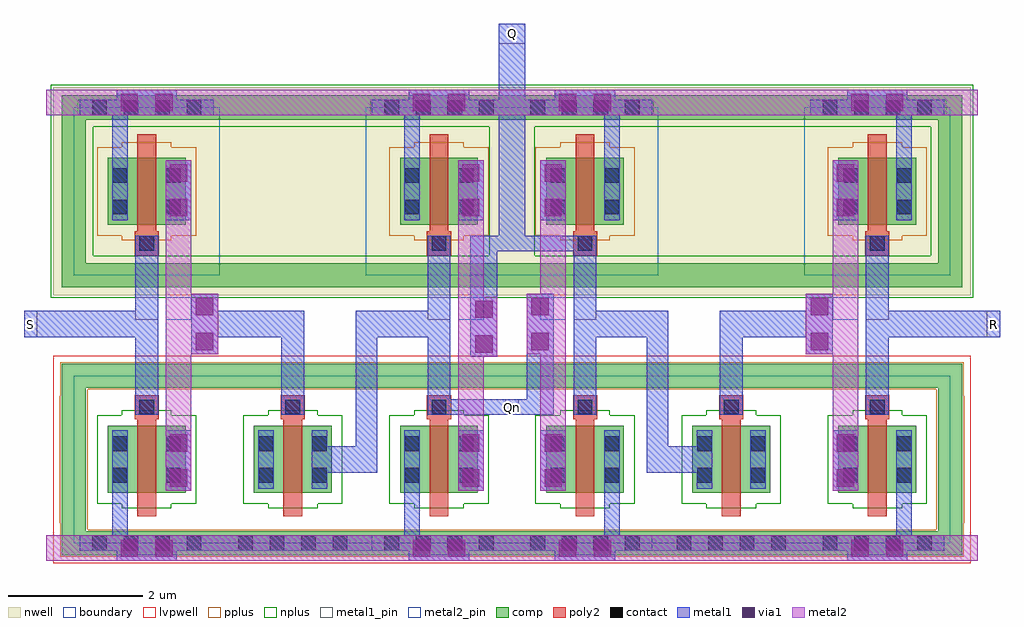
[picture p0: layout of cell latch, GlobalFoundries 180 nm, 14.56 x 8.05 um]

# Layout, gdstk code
from math import pi, radians
import gdstk
lib = gdstk.Library(unit=1e-6, precision=1e-09)
def R(c, l, rs):  # rectangles x0, y0, x1, y1
    for r in rs: c.add(gdstk.rectangle(r[:2], r[2:], *l))
def A(c, l, x, y, w, h, nx, ny, dx, dy):  # array of equal rectangles
    R(c, l, [(x+i*dx, y+j*dy, x+i*dx+w, y+j*dy+h) for i in range(nx) for j in range(ny)])
boundary = (0, 0)
nwell = (21, 0)
comp = (22, 0)
poly2 = (30, 0)
pplus = (31, 0)
nplus = (32, 0)
contact = (33, 0)
metal1 = (34, 0)
metal1_pin = (34, 10)
via1 = (35, 0)
metal2 = (36, 0)
metal2_pin = (36, 10)
lvpwell = (204, 0)

xm1_2 = lib.new_cell('XM1$2')
R(xm1_2, boundary, [(-1.09,-1.75,1.09,0.75)])
R(xm1_2, comp, [(-1.27,-1.93,1.27,-1.57), (-1.27,-1.57,-0.91,0.57), (-0.58,-1,0.58,0), (-1.27,0.57,1.27,0.93)])
R(xm1_2, poly2, [(-0.14,-1.35,0.14,0.1), (-0.18,0.1,0.18,0.46)])
R(xm1_2, pplus, [(-1.29,-1.95,1.29,-1.55), (-1.29,-1.55,-0.88,-1.445), (-1.3,-1.445,-0.88,0.445), (-1.29,0.445,-0.88,0.55), (-1.29,0.55,1.29,0.95)])
R(xm1_2, nplus, [(-0.37,-1.23,0.37,-1.16), (-0.74,-1.16,0.74,0.16), (-0.37,0.16,0.37,0.23)])
A(xm1_2, contact, -0.815, -1.86, 0.22, 0.22, 4, 1, 0.47, 0)
R(xm1_2, contact, [(-0.51,-0.845,-0.29,-0.625), (0.29,-0.845,0.51,-0.625), (-0.51,-0.375,-0.29,-0.155), (0.29,-0.375,0.51,-0.155), (-0.11,0.17,0.11,0.39)])
R(xm1_2, metal1, [(-1,-1.865,1.09,-1.635), (-0.515,-1.75,-0.285,-0.065), (0.285,-0.935,0.515,-0.065), (-0.17,0.165,0.17,0.395)])
R(xm1_2, lvpwell, [(-1.39,-2.05,1.39,1.05)])

xm2_2 = lib.new_cell('XM2$2')
R(xm2_2, boundary, [(-1.09,-1.25,1.09,1.25)])
R(xm2_2, nwell, [(-2.3,-1.55,1.39,1.55)])
R(xm2_2, comp, [(-2.18,-1.43,1.27,-1.07), (0.91,-1.07,1.27,1.07), (-0.58,-0.5,0.58,0.5), (-2.18,1.07,1.27,1.43)])
R(xm2_2, poly2, [(-0.14,-0.85,0.14,0.6), (-0.18,0.6,0.18,0.96)])
R(xm2_2, pplus, [(-0.37,-0.73,0.37,-0.66), (-0.74,-0.66,0.74,0.66), (-0.37,0.66,0.37,0.73)])
R(xm2_2, nplus, [(-2.34,-1.59,1.43,-0.96), (0.8,-0.96,1.43,0.96), (-2.34,0.96,1.43,1.59)])
A(xm2_2, contact, -0.815, -1.36, 0.22, 0.22, 4, 1, 0.47, 0)
R(xm2_2, contact, [(-0.51,-0.345,-0.29,-0.125), (0.29,-0.345,0.51,-0.125), (-0.51,0.125,-0.29,0.345), (0.29,0.125,0.51,0.345), (-0.11,0.67,0.11,0.89)])
R(xm2_2, metal1, [(-1,-1.365,1,-1.135), (0.285,-1.25,0.515,0.435), (-0.515,-0.435,-0.285,0.435), (-0.17,0.665,0.17,0.895)])

c_x3 = lib.new_cell('x3')
R(c_x3, metal1, [(-0.45,-5.515,0.45,-5.135), (0.285,-4.465,0.665,-3.565), (-0.17,-3.335,0.17,-0.665), (0.285,-0.435,0.665,0.465), (-0.45,1.135,0.45,1.515)])
R(c_x3, metal1_pin, [(-1,-5.365,-0.77,-5.135), (-0.17,-1.92,0.17,-1.58), (-1.025,1.135,-0.795,1.365)])
R(c_x3, via1, [(-0.39,-5.455,-0.13,-5.195), (0.13,-5.455,0.39,-5.195), (0.345,-4.405,0.605,-4.145), (0.345,-3.885,0.605,-3.625), (0.345,-0.375,0.605,-0.115), (0.345,0.145,0.605,0.405), (-0.39,1.195,-0.13,1.455), (0.13,1.195,0.39,1.455)])
R(c_x3, metal2, [(-1.5,-5.515,2.15,-5.135), (-0.45,-5.515,0.45,-5.135), (0.285,-4.465,0.665,-3.565), (0.285,-4.465,0.665,0.465), (0.285,-0.435,0.665,0.465), (-1.5,1.135,2.18,1.515), (-0.45,1.135,0.45,1.515)])
R(c_x3, metal2_pin, [(0.285,-1.92,0.665,-1.58)])
c_x3.add(gdstk.Reference(xm1_2, (0,-3.5)))
c_x3.add(gdstk.Reference(xm2_2, (0,0), rotation=pi))
c_x3.add(gdstk.Label('in', (-0.001,-1.737), layer=34, texttype=10))
c_x3.add(gdstk.Label('vdd', (-0.911,1.25), layer=34, texttype=10))
c_x3.add(gdstk.Label('vss', (-0.886,-5.25), layer=34, texttype=10))
c_x3.add(gdstk.Label('out', (0.47,-1.748), layer=36, texttype=10))

xm1_3 = lib.new_cell('XM1$3')
R(xm1_3, boundary, [(-1.09,-1.75,1.09,0.75)])
R(xm1_3, comp, [(-1.27,-1.93,1.27,-1.57), (-1.27,-1.57,-0.91,0.57), (-0.58,-1,0.58,0), (-1.27,0.57,1.27,0.93)])
R(xm1_3, poly2, [(-0.14,-1.35,0.14,0.1), (-0.18,0.1,0.18,0.46)])
R(xm1_3, pplus, [(-1.29,-1.95,1.29,-1.55), (-1.29,-1.55,-0.88,-1.445), (-1.3,-1.445,-0.88,0.445), (-1.29,0.445,-0.88,0.55), (-1.29,0.55,1.29,0.95)])
R(xm1_3, nplus, [(-0.37,-1.23,0.37,-1.16), (-0.74,-1.16,0.74,0.16), (-0.37,0.16,0.37,0.23)])
A(xm1_3, contact, -0.815, -1.86, 0.22, 0.22, 4, 1, 0.47, 0)
R(xm1_3, contact, [(-0.51,-0.845,-0.29,-0.625), (0.29,-0.845,0.51,-0.625), (-0.51,-0.375,-0.29,-0.155), (0.29,-0.375,0.51,-0.155), (-0.11,0.17,0.11,0.39)])
R(xm1_3, metal1, [(-1,-1.865,1.09,-1.635), (-0.515,-1.75,-0.285,-0.065), (0.285,-0.935,0.515,-0.065), (-0.17,0.165,0.17,0.395)])
R(xm1_3, lvpwell, [(-1.39,-2.05,1.39,1.05)])

xm2_3 = lib.new_cell('XM2$3')
R(xm2_3, boundary, [(-1.09,-1.25,1.09,1.25)])
R(xm2_3, nwell, [(-2.3,-1.55,1.39,1.55)])
R(xm2_3, comp, [(-2.18,-1.43,1.27,-1.07), (0.91,-1.07,1.27,1.07), (-0.58,-0.5,0.58,0.5), (-2.18,1.07,1.27,1.43)])
R(xm2_3, poly2, [(-0.14,-0.85,0.14,0.6), (-0.18,0.6,0.18,0.96)])
R(xm2_3, pplus, [(-0.37,-0.73,0.37,-0.66), (-0.74,-0.66,0.74,0.66), (-0.37,0.66,0.37,0.73)])
R(xm2_3, nplus, [(-2.34,-1.59,1.43,-0.96), (0.8,-0.96,1.43,0.96), (-2.34,0.96,1.43,1.59)])
A(xm2_3, contact, -0.815, -1.36, 0.22, 0.22, 4, 1, 0.47, 0)
R(xm2_3, contact, [(-0.51,-0.345,-0.29,-0.125), (0.29,-0.345,0.51,-0.125), (-0.51,0.125,-0.29,0.345), (0.29,0.125,0.51,0.345), (-0.11,0.67,0.11,0.89)])
R(xm2_3, metal1, [(-1,-1.365,1,-1.135), (0.285,-1.25,0.515,0.435), (-0.515,-0.435,-0.285,0.435), (-0.17,0.665,0.17,0.895)])

c_x4 = lib.new_cell('x4')
R(c_x4, metal1, [(-0.45,-5.515,0.45,-5.135), (0.285,-4.465,0.665,-3.565), (-0.17,-3.335,0.17,-0.665), (0.285,-0.435,0.665,0.465), (-0.45,1.135,0.45,1.515)])
R(c_x4, metal1_pin, [(-1,-5.365,-0.77,-5.135), (-0.17,-1.92,0.17,-1.58), (-1.025,1.135,-0.795,1.365)])
R(c_x4, via1, [(-0.39,-5.455,-0.13,-5.195), (0.13,-5.455,0.39,-5.195), (0.345,-4.405,0.605,-4.145), (0.345,-3.885,0.605,-3.625), (0.345,-0.375,0.605,-0.115), (0.345,0.145,0.605,0.405), (-0.39,1.195,-0.13,1.455), (0.13,1.195,0.39,1.455)])
R(c_x4, metal2, [(-1.5,-5.515,2.17,-5.135), (-0.45,-5.515,0.45,-5.135), (0.285,-4.465,0.665,-3.565), (0.285,-4.465,0.665,0.465), (0.285,-0.435,0.665,0.465), (-1.5,1.135,2.18,1.515), (-0.45,1.135,0.45,1.515)])
R(c_x4, metal2_pin, [(0.285,-1.92,0.665,-1.58)])
c_x4.add(gdstk.Reference(xm1_3, (0,-3.5)))
c_x4.add(gdstk.Reference(xm2_3, (0,0), rotation=pi))
c_x4.add(gdstk.Label('in', (-0.001,-1.737), layer=34, texttype=10))
c_x4.add(gdstk.Label('vdd', (-0.911,1.25), layer=34, texttype=10))
c_x4.add(gdstk.Label('vss', (-0.886,-5.25), layer=34, texttype=10))
c_x4.add(gdstk.Label('out', (0.47,-1.748), layer=36, texttype=10))

xm1 = lib.new_cell('XM1')
R(xm1, boundary, [(-1.09,-1.75,1.09,0.75)])
R(xm1, comp, [(-1.27,-1.93,1.27,-1.57), (-0.58,-1,0.58,0), (-1.27,0.57,1.27,0.93)])
R(xm1, poly2, [(-0.14,-1.35,0.14,0.1), (-0.18,0.1,0.18,0.46)])
R(xm1, pplus, [(-1.29,-1.95,1.29,-1.55), (-1.29,0.55,1.29,0.95)])
R(xm1, nplus, [(-0.37,-1.23,0.37,-1.16), (-0.74,-1.16,0.74,0.16), (-0.37,0.16,0.37,0.23)])
A(xm1, contact, -0.815, -1.86, 0.22, 0.22, 4, 1, 0.47, 0)
R(xm1, contact, [(-0.51,-0.845,-0.29,-0.625), (0.29,-0.845,0.51,-0.625), (-0.51,-0.375,-0.29,-0.155), (0.29,-0.375,0.51,-0.155), (-0.11,0.17,0.11,0.39)])
R(xm1, metal1, [(-1.09,-1.865,1.09,-1.635), (-0.515,-1.75,-0.285,-0.065), (0.285,-0.935,0.515,-0.065), (-0.17,0.165,0.17,0.395)])
R(xm1, lvpwell, [(-1.39,-2.05,1.39,1.05)])

xm2 = lib.new_cell('XM2')
R(xm2, boundary, [(-1.09,-1.25,1.09,1.25)])
R(xm2, nwell, [(-1.39,-1.55,2.3,1.55)])
R(xm2, comp, [(-1.27,-1.43,2.18,-1.07), (-0.58,-0.5,0.58,0.5), (-1.27,1.07,2.18,1.43)])
R(xm2, poly2, [(-0.14,-0.85,0.14,0.6), (-0.18,0.6,0.18,0.96)])
R(xm2, pplus, [(-0.37,-0.73,0.37,-0.66), (-0.74,-0.66,0.74,0.66), (-0.37,0.66,0.37,0.73)])
R(xm2, nplus, [(-1.43,-1.59,2.34,-0.96), (-1.43,-0.96,-0.8,0.96), (-1.43,0.96,2.34,1.59)])
A(xm2, contact, -0.815, -1.36, 0.22, 0.22, 4, 1, 0.47, 0)
R(xm2, contact, [(-0.51,-0.345,-0.29,-0.125), (0.29,-0.345,0.51,-0.125), (-0.51,0.125,-0.29,0.345), (0.29,0.125,0.51,0.345), (-0.11,0.67,0.11,0.89)])
R(xm2, metal1, [(-1.09,-1.365,1,-1.135), (0.285,-1.25,0.515,0.435), (-0.515,-0.435,-0.285,0.435), (-0.17,0.665,0.17,0.895)])

c_x1 = lib.new_cell('x1')
R(c_x1, metal1, [(-0.45,-5.515,0.45,-5.135), (0.285,-4.465,0.665,-3.565), (-0.17,-3.335,0.17,-0.665), (0.285,-0.435,0.665,0.465), (-0.45,1.135,0.45,1.515)])
R(c_x1, metal1_pin, [(-1,-5.365,-0.77,-5.135), (-0.17,-1.92,0.17,-1.58), (-1.025,1.135,-0.795,1.365)])
R(c_x1, via1, [(-0.39,-5.455,-0.13,-5.195), (0.13,-5.455,0.39,-5.195), (0.345,-4.405,0.605,-4.145), (0.345,-3.885,0.605,-3.625), (0.345,-0.375,0.605,-0.115), (0.345,0.145,0.605,0.405), (-0.39,1.195,-0.13,1.455), (0.13,1.195,0.39,1.455)])
R(c_x1, metal2, [(-2.19,-5.515,1.5,-5.135), (-0.45,-5.515,0.45,-5.135), (0.285,-4.465,0.665,-3.565), (0.285,-4.465,0.665,0.465), (0.285,-0.435,0.665,0.465), (-2.18,1.135,1.5,1.515), (-0.45,1.135,0.45,1.515)])
R(c_x1, metal2_pin, [(0.285,-1.92,0.665,-1.58)])
c_x1.add(gdstk.Reference(xm1, (0,-3.5)))
c_x1.add(gdstk.Reference(xm2, (0,0), rotation=pi))
c_x1.add(gdstk.Label('in', (-0.001,-1.737), layer=34, texttype=10))
c_x1.add(gdstk.Label('vdd', (-0.911,1.25), layer=34, texttype=10))
c_x1.add(gdstk.Label('vss', (-0.886,-5.25), layer=34, texttype=10))
c_x1.add(gdstk.Label('out', (0.47,-1.748), layer=36, texttype=10))

xm1_1 = lib.new_cell('XM1$1')
R(xm1_1, boundary, [(-1.09,-1.75,1.09,0.75)])
R(xm1_1, comp, [(-1.27,-1.93,1.27,-1.57), (-0.58,-1,0.58,0), (-1.27,0.57,1.27,0.93)])
R(xm1_1, poly2, [(-0.14,-1.35,0.14,0.1), (-0.18,0.1,0.18,0.46)])
R(xm1_1, pplus, [(-1.29,-1.95,1.29,-1.55), (-1.29,0.55,1.29,0.95)])
R(xm1_1, nplus, [(-0.37,-1.23,0.37,-1.16), (-0.74,-1.16,0.74,0.16), (-0.37,0.16,0.37,0.23)])
A(xm1_1, contact, -0.815, -1.86, 0.22, 0.22, 4, 1, 0.47, 0)
R(xm1_1, contact, [(-0.51,-0.845,-0.29,-0.625), (0.29,-0.845,0.51,-0.625), (-0.51,-0.375,-0.29,-0.155), (0.29,-0.375,0.51,-0.155), (-0.11,0.17,0.11,0.39)])
R(xm1_1, metal1, [(-1.09,-1.865,1.09,-1.635), (-0.515,-1.75,-0.285,-0.065), (0.285,-0.935,0.515,-0.065), (-0.17,0.165,0.17,0.395)])
R(xm1_1, lvpwell, [(-1.39,-2.05,1.39,1.05)])

xm2_1 = lib.new_cell('XM2$1')
R(xm2_1, boundary, [(-1.09,-1.25,1.09,1.25)])
R(xm2_1, nwell, [(-1.39,-1.55,2.3,1.55)])
R(xm2_1, comp, [(-1.27,-1.43,2.18,-1.07), (-0.58,-0.5,0.58,0.5), (-1.27,1.07,2.18,1.43)])
R(xm2_1, poly2, [(-0.14,-0.85,0.14,0.6), (-0.18,0.6,0.18,0.96)])
R(xm2_1, pplus, [(-0.37,-0.73,0.37,-0.66), (-0.74,-0.66,0.74,0.66), (-0.37,0.66,0.37,0.73)])
R(xm2_1, nplus, [(-1.43,-1.59,2.34,-0.96), (-1.43,-0.96,-0.8,0.96), (-1.43,0.96,2.34,1.59)])
A(xm2_1, contact, -0.815, -1.36, 0.22, 0.22, 4, 1, 0.47, 0)
R(xm2_1, contact, [(-0.51,-0.345,-0.29,-0.125), (0.29,-0.345,0.51,-0.125), (-0.51,0.125,-0.29,0.345), (0.29,0.125,0.51,0.345), (-0.11,0.67,0.11,0.89)])
R(xm2_1, metal1, [(-1.09,-1.365,1,-1.135), (0.285,-1.25,0.515,0.435), (-0.515,-0.435,-0.285,0.435), (-0.17,0.665,0.17,0.895)])

c_x2 = lib.new_cell('x2')
R(c_x2, metal1, [(-0.45,-5.515,0.45,-5.135), (0.285,-4.465,0.665,-3.565), (-0.17,-3.335,0.17,-0.665), (0.285,-0.435,0.665,0.465), (-0.45,1.135,0.45,1.515)])
R(c_x2, metal1_pin, [(-1,-5.365,-0.77,-5.135), (-0.17,-1.92,0.17,-1.58), (-1.025,1.135,-0.795,1.365)])
R(c_x2, via1, [(-0.39,-5.455,-0.13,-5.195), (0.13,-5.455,0.39,-5.195), (0.345,-4.405,0.605,-4.145), (0.345,-3.885,0.605,-3.625), (0.345,-0.375,0.605,-0.115), (0.345,0.145,0.605,0.405), (-0.39,1.195,-0.13,1.455), (0.13,1.195,0.39,1.455)])
R(c_x2, metal2, [(-2.21,-5.515,1.5,-5.135), (-0.45,-5.515,0.45,-5.135), (0.285,-4.465,0.665,-3.565), (0.285,-4.465,0.665,0.465), (0.285,-0.435,0.665,0.465), (-2.18,1.135,1.5,1.515), (-0.45,1.135,0.45,1.515)])
R(c_x2, metal2_pin, [(0.285,-1.92,0.665,-1.58)])
c_x2.add(gdstk.Reference(xm1_1, (0,-3.5)))
c_x2.add(gdstk.Reference(xm2_1, (0,0), rotation=pi))
c_x2.add(gdstk.Label('in', (-0.001,-1.737), layer=34, texttype=10))
c_x2.add(gdstk.Label('vdd', (-0.911,1.25), layer=34, texttype=10))
c_x2.add(gdstk.Label('vss', (-0.886,-5.25), layer=34, texttype=10))
c_x2.add(gdstk.Label('out', (0.47,-1.748), layer=36, texttype=10))

xm3 = lib.new_cell('XM3')
R(xm3, boundary, [(-1.567,-8.66,0.613,-6.16)])
R(xm3, comp, [(-1.747,-8.84,0.793,-8.48), (-1.057,-7.91,0.103,-6.91), (-1.747,-6.34,0.793,-5.98)])
R(xm3, poly2, [(-0.617,-8.26,-0.337,-6.81), (-0.657,-6.81,-0.297,-6.45)])
R(xm3, pplus, [(-1.767,-8.86,0.813,-8.46), (-1.767,-6.36,0.813,-5.96)])
R(xm3, nplus, [(-0.847,-8.14,-0.107,-8.07), (-1.217,-8.07,0.263,-6.75), (-0.847,-6.75,-0.107,-6.68)])
A(xm3, contact, -1.292, -8.77, 0.22, 0.22, 4, 1, 0.47, 0)
R(xm3, contact, [(-0.987,-7.755,-0.767,-7.535), (-0.187,-7.755,0.033,-7.535), (-0.987,-7.285,-0.767,-7.065), (-0.187,-7.285,0.033,-7.065), (-0.587,-6.74,-0.367,-6.52)])
R(xm3, metal1, [(-1.567,-8.775,0.613,-8.545), (-0.992,-7.845,-0.762,-6.975), (-0.192,-7.845,0.038,-6.975), (-0.647,-6.745,-0.307,-6.515)])
R(xm3, lvpwell, [(-1.867,-8.96,0.913,-5.86)])

xm4 = lib.new_cell('XM4')
R(xm4, boundary, [(1.469,-8.785,3.649,-6.285)])
R(xm4, comp, [(1.289,-8.965,3.829,-8.605), (1.979,-8.035,3.139,-7.035), (1.289,-6.465,3.829,-6.105)])
R(xm4, poly2, [(2.419,-8.385,2.699,-6.935), (2.379,-6.935,2.739,-6.575)])
R(xm4, pplus, [(1.269,-8.985,3.849,-8.585), (1.269,-6.485,3.849,-6.085)])
R(xm4, nplus, [(2.189,-8.265,2.929,-8.195), (1.819,-8.195,3.299,-6.875), (2.189,-6.875,2.929,-6.805)])
A(xm4, contact, 1.744, -8.895, 0.22, 0.22, 4, 1, 0.47, 0)
R(xm4, contact, [(2.049,-7.88,2.269,-7.66), (2.849,-7.88,3.069,-7.66), (2.049,-7.41,2.269,-7.19), (2.849,-7.41,3.069,-7.19), (2.449,-6.865,2.669,-6.645)])
R(xm4, metal1, [(1.469,-8.9,3.649,-8.67), (2.044,-7.97,2.274,-7.1), (2.844,-7.97,3.074,-7.1), (2.389,-6.87,2.729,-6.64)])
R(xm4, lvpwell, [(1.169,-9.085,3.949,-5.985)])

latch = lib.new_cell('latch')
R(latch, metal1, [(-0.485,-4.2,0.49,-3.8), (0.17,-4.2,0.49,-1.78), (4.51,-4.2,5.485,-3.8), (4.51,-4.2,4.83,-1.78), (-0.94,-3.335,-0.6,-1.78), (1.24,-3.335,3.12,-3.105), (2.72,-3.335,3.12,-1.53), (5.6,-3.335,5.94,-1.78), (1.88,-2.47,2.28,-1.57), (1.88,-2.47,2.28,-0.665), (-2.285,-2.43,-1.885,-1.53), (2.72,-2.43,3.12,-1.53), (6.885,-2.43,7.285,-1.53), (-4.78,-2.18,-2.78,-1.78), (-2.285,-2.18,-0.6,-1.78), (0.17,-2.18,1.58,-1.78), (3.42,-2.18,4.83,-1.78), (5.6,-2.18,7.285,-1.78), (7.78,-2.18,9.78,-1.78), (1.88,-0.895,3.76,-0.665), (2.3,-0.895,2.7,2.5)])
R(latch, metal1_pin, [(2.4,-3.335,2.6,-3.105), (-4.78,-2.18,-4.58,-1.78), (9.58,-2.18,9.78,-1.78), (2.3,2.2,2.7,2.5)])
R(latch, via1, [(1.95,-2.41,2.21,-2.15), (-2.215,-2.37,-1.955,-2.11), (2.79,-2.37,3.05,-2.11), (6.955,-2.37,7.215,-2.11), (1.95,-1.89,2.21,-1.63), (-2.215,-1.85,-1.955,-1.59), (2.79,-1.85,3.05,-1.59), (6.955,-1.85,7.215,-1.59)])
R(latch, metal2, [(1.88,-2.47,2.28,-1.57), (-2.285,-2.43,-1.885,-1.53), (2.72,-2.43,3.12,-1.53), (6.885,-2.43,7.285,-1.53)])
latch.add(gdstk.Reference(c_x3, (7.95,0), rotation=pi, x_reflection=True))
latch.add(gdstk.Reference(c_x4, (-2.95,0)))
latch.add(gdstk.Reference(c_x1, (1.41,0)))
latch.add(gdstk.Reference(c_x2, (3.59,0), rotation=pi, x_reflection=True))
latch.add(gdstk.Reference(xm3, (-0.293,3.41)))
latch.add(gdstk.Reference(xm4, (3.211,3.535)))
latch.add(gdstk.Label('Qn', (2.5,-3.223), layer=34, texttype=10))
latch.add(gdstk.Label('Q', (2.5,2.35), layer=34, texttype=10))
latch.add(gdstk.Label('S', (-4.68,-1.98), layer=34, texttype=10))
latch.add(gdstk.Label('R', (9.68,-1.98), layer=34, texttype=10))

lib.write_gds('latch.gds')
